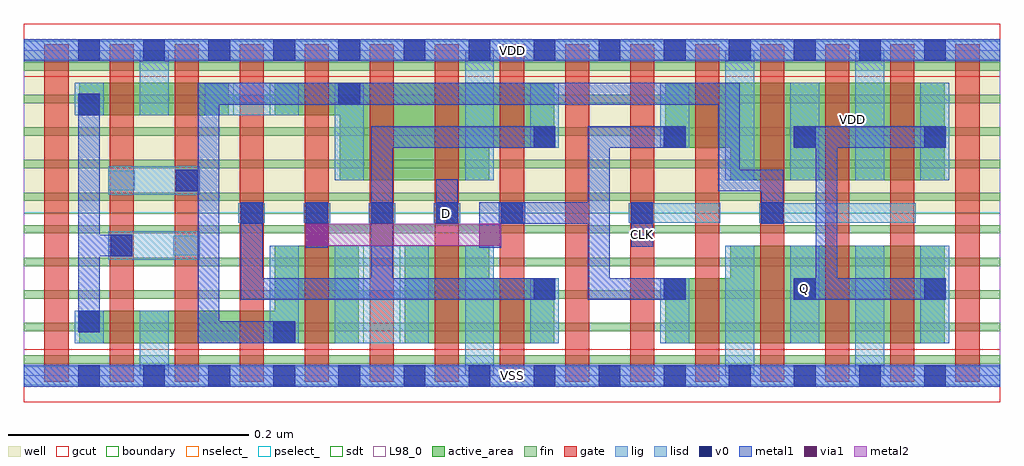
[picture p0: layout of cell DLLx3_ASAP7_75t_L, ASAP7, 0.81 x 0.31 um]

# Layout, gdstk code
import gdstk
lib = gdstk.Library(unit=1e-6, precision=2.5e-10)
def R(c, l, rs):  # rectangles x0, y0, x1, y1
    for r in rs: c.add(gdstk.rectangle(r[:2], r[2:], *l))
def A(c, l, x, y, w, h, nx, ny, dx, dy):  # array of equal rectangles
    R(c, l, [(x+i*dx, y+j*dy, x+i*dx+w, y+j*dy+h) for i in range(nx) for j in range(ny)])
def P(c, l, *ps):  # polygons
    for p in ps: c.add(gdstk.Polygon(p, *l))
well = (1, 0)
fin = (2, 0)
gate = (7, 0)
gcut = (10, 0)
active_area = (11, 0)
nselect_ = (12, 0)
pselect_ = (13, 0)
lig = (16, 0)
lisd = (17, 0)
v0 = (18, 0)
metal1 = (19, 0)
metal2 = (20, 0)
via1 = (21, 0)
sdt = (88, 0)
L98_0 = (98, 0)
boundary = (100, 0)

dllx3_asap7_75t_l = lib.new_cell('DLLx3_ASAP7_75t_L')
R(dllx3_asap7_75t_l, well, [(0,0.135,0.81,0.27)])
A(dllx3_asap7_75t_l, fin, 0, 0.01, 0.81, 0.007, 1, 10, 0, 0.027)
A(dllx3_asap7_75t_l, gate, 0.017, -0.005, 0.02, 0.28, 15, 1, 0.054, 0)
R(dllx3_asap7_75t_l, gcut, [(0,-0.022,0.81,0.022), (0,0.248,0.81,0.292)])
R(dllx3_asap7_75t_l, active_area, [(0.046,0.216,0.17,0.243)])
P(dllx3_asap7_75t_l, active_area, [(0.532,0.027),(0.532,0.081),(0.586,0.081),(0.586,0.108),(0.764,0.108),(0.764,0.027)],
  [(0.316,0.027),(0.316,0.108),(0.386,0.108),(0.386,0.081),(0.44,0.081),(0.44,0.027)],
  [(0.046,0.027),(0.046,0.054),(0.208,0.054),(0.208,0.108),(0.278,0.108),(0.278,0.027)],
  [(0.586,0.162),(0.586,0.189),(0.532,0.189),(0.532,0.243),(0.764,0.243),(0.764,0.162)],
  [(0.262,0.162),(0.262,0.216),(0.208,0.216),(0.208,0.243),(0.44,0.243),(0.44,0.189),(0.386,0.189),(0.386,0.162)])
R(dllx3_asap7_75t_l, nselect_, [(0,0,0.81,0.135)])
R(dllx3_asap7_75t_l, pselect_, [(0,0.135,0.81,0.27)])
A(dllx3_asap7_75t_l, lig, 0.178, 0.127, 0.022, 0.016, 5, 1, 0.054, 0)
R(dllx3_asap7_75t_l, lig, [(0,-0.008,0.81,0.008), (0.124,0.1,0.146,0.116), (0.502,0.127,0.578,0.143), (0.61,0.127,0.74,0.143), (0.07,0.154,0.092,0.17), (0,0.262,0.81,0.278)])
R(dllx3_asap7_75t_l, lisd, [(0.096,0,0.12,0.054), (0.366,0,0.39,0.108), (0.582,0,0.606,0.108), (0.69,0,0.714,0.108), (0.042,0.027,0.066,0.054), (0.204,0.027,0.228,0.108), (0.258,0.027,0.336,0.108), (0.42,0.027,0.444,0.081), (0.528,0.027,0.552,0.081), (0.636,0.027,0.66,0.108), (0.744,0.027,0.768,0.108), (0.07,0.096,0.146,0.12), (0.07,0.15,0.146,0.174), (0.258,0.162,0.282,0.243), (0.366,0.162,0.39,0.27), (0.582,0.162,0.606,0.27), (0.636,0.162,0.66,0.243), (0.69,0.162,0.714,0.27), (0.744,0.162,0.768,0.243), (0.42,0.189,0.444,0.243), (0.528,0.189,0.552,0.243), (0.042,0.216,0.066,0.243), (0.096,0.216,0.12,0.27), (0.15,0.216,0.228,0.243)])
A(dllx3_asap7_75t_l, v0, 0.045, -0.009, 0.018, 0.018, 14, 2, 0.054, 0.27)
A(dllx3_asap7_75t_l, v0, 0.423, 0.063, 0.018, 0.018, 4, 2, 0.108, 0.126)
A(dllx3_asap7_75t_l, v0, 0.18, 0.126, 0.018, 0.018, 5, 1, 0.054, 0)
R(dllx3_asap7_75t_l, v0, [(0.207,0.027,0.225,0.045), (0.045,0.036,0.063,0.054), (0.072,0.099,0.09,0.117), (0.504,0.126,0.522,0.144), (0.612,0.126,0.63,0.144), (0.126,0.153,0.144,0.171), (0.045,0.216,0.063,0.234), (0.261,0.225,0.279,0.243)])
R(dllx3_asap7_75t_l, metal1, [(0,-0.009,0.81,0.009), (0.234,0.106,0.252,0.144), (0.504,0.107,0.522,0.144), (0.342,0.126,0.36,0.163), (0,0.261,0.81,0.279)])
P(dllx3_asap7_75t_l, metal1, [(0.639,0.063),(0.639,0.081),(0.657,0.081),(0.657,0.189),(0.639,0.189),(0.639,0.207),(0.765,0.207),(0.765,0.189),(0.675,0.189),(0.675,0.081),(0.765,0.081),(0.765,0.063)],
  [(0.18,0.063),(0.18,0.144),(0.198,0.144),(0.198,0.081),(0.288,0.081),(0.288,0.207),(0.441,0.207),(0.441,0.189),(0.306,0.189),(0.306,0.081),(0.441,0.081),(0.441,0.063)],
  [(0.144,0.027),(0.144,0.153),(0.126,0.153),(0.126,0.171),(0.144,0.171),(0.144,0.243),(0.594,0.243),(0.594,0.171),(0.63,0.171),(0.63,0.126),(0.612,0.126),(0.612,0.153),(0.576,0.153),(0.576,0.225),(0.162,0.225),(0.162,0.045),(0.225,0.045),(0.225,0.027)],
  [(0.468,0.063),(0.468,0.126),(0.396,0.126),(0.396,0.106),(0.378,0.106),(0.378,0.144),(0.468,0.144),(0.468,0.207),(0.549,0.207),(0.549,0.189),(0.486,0.189),(0.486,0.081),(0.549,0.081),(0.549,0.063)],
  [(0.045,0.036),(0.045,0.234),(0.063,0.234),(0.063,0.117),(0.09,0.117),(0.09,0.099),(0.063,0.099),(0.063,0.036)])
R(dllx3_asap7_75t_l, metal2, [(0.234,0.108,0.396,0.126)])
R(dllx3_asap7_75t_l, via1, [(0.234,0.108,0.252,0.126), (0.378,0.108,0.396,0.126)])
A(dllx3_asap7_75t_l, sdt, 0.204, 0.027, 0.024, 0.081, 4, 1, 0.054, 0)
A(dllx3_asap7_75t_l, sdt, 0.582, 0.027, 0.024, 0.081, 4, 2, 0.054, 0.135)
A(dllx3_asap7_75t_l, sdt, 0.042, 0.216, 0.024, 0.027, 4, 1, 0.054, 0)
R(dllx3_asap7_75t_l, sdt, [(0.042,0.027,0.066,0.054), (0.096,0.027,0.12,0.054), (0.42,0.027,0.444,0.081), (0.528,0.027,0.552,0.081), (0.258,0.162,0.282,0.243), (0.366,0.162,0.39,0.243), (0.42,0.189,0.444,0.243), (0.528,0.189,0.552,0.243)])
R(dllx3_asap7_75t_l, L98_0, [(0,0,0.81,0.27)])
R(dllx3_asap7_75t_l, boundary, [(0,0,0.81,0.27)])
dllx3_asap7_75t_l.add(gdstk.Label('D', (0.351,0.135), layer=19, texttype=251))
dllx3_asap7_75t_l.add(gdstk.Label('Q', (0.648,0.072), layer=19, texttype=251))
dllx3_asap7_75t_l.add(gdstk.Label('CLK', (0.513,0.117), layer=19, texttype=251))
dllx3_asap7_75t_l.add(gdstk.Label('VSS', (0.405,0), layer=19, texttype=251))
dllx3_asap7_75t_l.add(gdstk.Label('VDD', (0.405,0.27), layer=19, texttype=251))
dllx3_asap7_75t_l.add(gdstk.Label('VDD', (0.688,0.213), layer=1, texttype=251))
dllx3_asap7_75t_l.add(gdstk.Label('VSS', (0.931,0.213), layer=3, texttype=251))

lib.write_gds('DLLx3_ASAP7_75t_L.gds')
